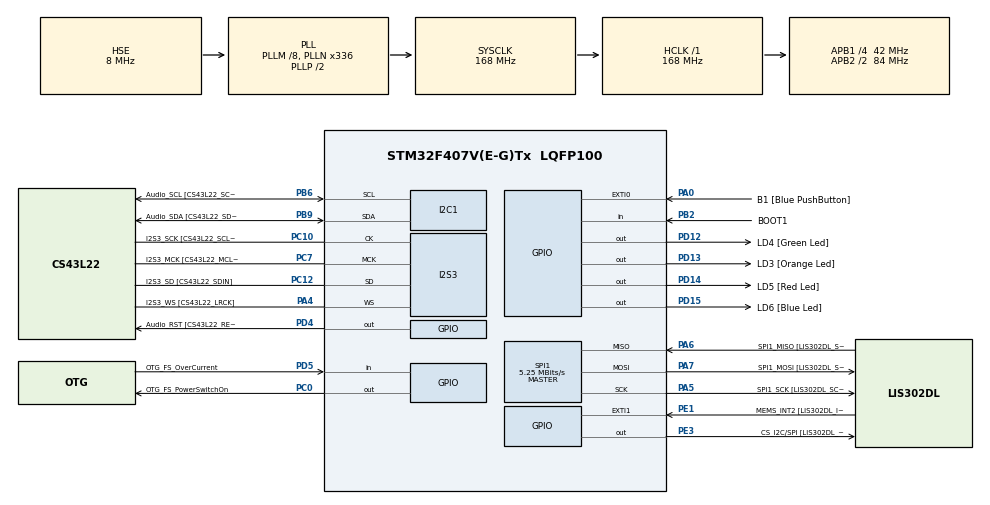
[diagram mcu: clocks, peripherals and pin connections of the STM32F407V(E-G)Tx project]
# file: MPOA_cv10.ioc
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FREERTOS.Queues01=xVisualQueue,16,uint16_t,NULL;xDecisionQueue,32,uint32_t,NULL
FREERTOS.Tasks01=defaultTask,0,128,StartDefaultTask,Default;VisualTask,0,128,StartVisualTask,Default;DecisionTask,0,128,StartDecisionTask,Default;AcceleroTask,0,128,StartAcceleroTask,Default
I2S3.AudioFreq-Half_Duplex_Master=I2S_AUDIOFREQ_96K
I2S3.ErrorAudioFreq=-2.34 %
I2S3.ErrorAudioFreq-Half_Duplex_Master=0.8 %
I2S3.RealAudioFreq=93.75 KHz
I2S3.RealAudioFreq-Half_Duplex_Master=96.774 KHz
Mcu.Family=STM32F4
Mcu.Name=STM32F407V(E-G)Tx
Mcu.Package=LQFP100
NVIC.PriorityGroup=NVIC_PRIORITYGROUP_4
NVIC.TIM1_UP_TIM10_IRQn=true\:0\:0\:false\:false\:true\:false
NVIC.TimeBase=TIM1_UP_TIM10_IRQn
NVIC.TimeBaseIP=TIM1
PA0-WKUP.GPIO_Label=B1 [Blue PushButton]
PA0-WKUP.GPIO_ModeDefaultEXTI=GPIO_MODE_EVT_RISING
PA0-WKUP.GPIO_PuPd=GPIO_NOPULL
PA0-WKUP.Signal=GPXTI0
PA10.GPIO_Label=OTG_FS_ID
PA10.GPIO_Mode=GPIO_MODE_AF_PP
PA10.GPIO_PuPd=GPIO_NOPULL
PA10.GPIO_Speed=GPIO_SPEED_FREQ_LOW
PA10.Signal=USB_OTG_FS_ID
PA11.GPIO_Label=OTG_FS_DM
PA11.GPIO_Mode=GPIO_MODE_AF_PP
PA11.GPIO_PuPd=GPIO_NOPULL
PA11.GPIO_Speed=GPIO_SPEED_FREQ_LOW
PA11.Signal=USB_OTG_FS_DM
PA12.GPIO_Label=OTG_FS_DP
PA12.GPIO_Mode=GPIO_MODE_AF_PP
PA12.GPIO_PuPd=GPIO_NOPULL
PA12.GPIO_Speed=GPIO_SPEED_FREQ_LOW
PA12.Signal=USB_OTG_FS_DP
PA13.GPIO_Label=SWDIO
PA13.Mode=Serial_Wire
PA13.Signal=SYS_JTMS-SWDIO
PA14.GPIO_Label=SWCLK
PA14.Mode=Serial_Wire
PA14.Signal=SYS_JTCK-SWCLK
PA4.GPIO_Label=I2S3_WS [CS43L22_LRCK]
PA4.GPIO_Mode=GPIO_MODE_AF_PP
PA4.GPIO_PuPd=GPIO_NOPULL
PA4.GPIO_Speed=GPIO_SPEED_FREQ_LOW
PA4.Mode=Half_Duplex_Master
PA4.Signal=I2S3_WS
PA5.GPIO_Label=SPI1_SCK [LIS302DL_SCL/SPC]
PA5.GPIO_Mode=GPIO_MODE_AF_PP
PA5.GPIO_PuPd=GPIO_NOPULL
PA5.GPIO_Speed=GPIO_SPEED_FREQ_LOW
PA5.Mode=Full_Duplex_Master
PA5.Signal=SPI1_SCK
PA6.GPIO_Label=SPI1_MISO [LIS302DL_SDO]
PA6.GPIO_Mode=GPIO_MODE_AF_PP
PA6.GPIO_PuPd=GPIO_NOPULL
PA6.GPIO_Speed=GPIO_SPEED_FREQ_LOW
PA6.Mode=Full_Duplex_Master
PA6.Signal=SPI1_MISO
PA7.GPIO_Label=SPI1_MOSI [LIS302DL_SDA/SDI/SDO]
PA7.GPIO_Mode=GPIO_MODE_AF_PP
PA7.GPIO_PuPd=GPIO_NOPULL
PA7.GPIO_Speed=GPIO_SPEED_FREQ_LOW
PA7.Mode=Full_Duplex_Master
PA7.Signal=SPI1_MOSI
PA9.GPIO_Label=VBUS_FS
PA9.GPIO_Mode=GPIO_MODE_INPUT
PA9.GPIO_PuPd=GPIO_NOPULL
PA9.Signal=USB_OTG_FS_VBUS
PB10.GPIO_Label=CLK_IN [MP45DT02_CLK]
PB10.GPIO_Mode=GPIO_MODE_AF_PP
PB10.GPIO_PuPd=GPIO_NOPULL
PB10.GPIO_Speed=GPIO_SPEED_FREQ_LOW
PB10.Signal=I2S2_CK
PB2.GPIO_Label=BOOT1
PB2.GPIO_Mode=GPIO_MODE_INPUT
PB2.GPIO_PuPd=GPIO_NOPULL
PB2.Signal=GPIO_Input
PB3.GPIO_Label=SWO
PB3.Signal=SYS_JTDO-SWO
PB6.GPIO_Label=Audio_SCL [CS43L22_SCL]
PB6.GPIO_Mode=GPIO_MODE_AF_OD
PB6.GPIO_PuPd=GPIO_NOPULL
PB6.GPIO_Speed=GPIO_SPEED_FREQ_LOW
PB6.Mode=I2C
PB6.Signal=I2C1_SCL
PB9.GPIO_Label=Audio_SDA [CS43L22_SDA]
PB9.GPIO_Mode=GPIO_MODE_AF_OD
PB9.GPIO_PuPd=GPIO_NOPULL
PB9.GPIO_Speed=GPIO_SPEED_FREQ_LOW
PB9.Mode=I2C
PB9.Signal=I2C1_SDA
PC0.GPIO_Label=OTG_FS_PowerSwitchOn
PC0.GPIO_PuPd=GPIO_NOPULL
PC0.GPIO_Speed=GPIO_SPEED_FREQ_LOW
PC0.PinState=GPIO_PIN_SET
PC0.Signal=GPIO_Output
PC10.GPIO_Label=I2S3_SCK [CS43L22_SCLK]
PC10.GPIO_Mode=GPIO_MODE_AF_PP
PC10.GPIO_PuPd=GPIO_NOPULL
PC10.GPIO_Speed=GPIO_SPEED_FREQ_LOW
PC10.Mode=Half_Duplex_Master
PC10.Signal=I2S3_CK
PC12.GPIO_Label=I2S3_SD [CS43L22_SDIN]
PC12.GPIO_Mode=GPIO_MODE_AF_PP
PC12.GPIO_PuPd=GPIO_NOPULL
PC12.GPIO_Speed=GPIO_SPEED_FREQ_LOW
PC12.Mode=Half_Duplex_Master
PC12.Signal=I2S3_SD
PC14-OSC32_IN.GPIO_Label=PC14-OSC32_IN
PC14-OSC32_IN.Mode=LSE-External-Oscillator
PC14-OSC32_IN.Signal=RCC_OSC32_IN
PC15-OSC32_OUT.GPIO_Label=PC15-OSC32_OUT
PC15-OSC32_OUT.Mode=LSE-External-Oscillator
PC15-OSC32_OUT.Signal=RCC_OSC32_OUT
PC3.GPIO_Label=PDM_OUT [MP45DT02_DOUT]
PC3.GPIO_Mode=GPIO_MODE_AF_PP
PC3.GPIO_PuPd=GPIO_NOPULL
PC3.GPIO_Speed=GPIO_SPEED_FREQ_LOW
PC3.Signal=I2S2_SD
PC7.GPIO_Label=I2S3_MCK [CS43L22_MCLK]
PC7.GPIO_Mode=GPIO_MODE_AF_PP
PC7.GPIO_PuPd=GPIO_NOPULL
PC7.GPIO_Speed=GPIO_SPEED_FREQ_LOW
PC7.Mode=Master_Clock_Activated
PC7.Signal=I2S3_MCK
PD12.GPIO_Label=LD4 [Green Led]
PD12.GPIO_PuPd=GPIO_NOPULL
PD12.GPIO_Speed=GPIO_SPEED_FREQ_LOW
PD12.Signal=GPIO_Output
PD13.GPIO_Label=LD3 [Orange Led]
PD13.GPIO_PuPd=GPIO_NOPULL
PD13.GPIO_Speed=GPIO_SPEED_FREQ_LOW
PD13.Signal=GPIO_Output
PD14.GPIO_Label=LD5 [Red Led]
PD14.GPIO_PuPd=GPIO_NOPULL
PD14.GPIO_Speed=GPIO_SPEED_FREQ_LOW
PD14.Signal=GPIO_Output
PD15.GPIO_Label=LD6 [Blue Led]
PD15.GPIO_PuPd=GPIO_NOPULL
PD15.GPIO_Speed=GPIO_SPEED_FREQ_LOW
PD15.Signal=GPIO_Output
PD4.GPIO_Label=Audio_RST [CS43L22_RESET]
PD4.GPIO_PuPd=GPIO_NOPULL
PD4.GPIO_Speed=GPIO_SPEED_FREQ_LOW
PD4.Signal=GPIO_Output
PD5.GPIO_Label=OTG_FS_OverCurrent
PD5.GPIO_Mode=GPIO_MODE_INPUT
PD5.GPIO_PuPd=GPIO_NOPULL
PD5.Signal=GPIO_Input
PE1.GPIO_Label=MEMS_INT2 [LIS302DL_INT2]
PE1.GPIO_ModeDefaultEXTI=GPIO_MODE_EVT_RISING
PE1.GPIO_PuPd=GPIO_NOPULL
PE1.Signal=GPXTI1
PE3.GPIO_Label=CS_I2C/SPI [LIS302DL_CS_I2C/SPI]
PE3.GPIO_PuPd=GPIO_NOPULL
PE3.GPIO_Speed=GPIO_SPEED_FREQ_LOW
PE3.Signal=GPIO_Output
PH0-OSC_IN.GPIO_Label=PH0-OSC_IN
PH0-OSC_IN.Mode=HSE-External-Oscillator
PH0-OSC_IN.Signal=RCC_OSC_IN
PH1-OSC_OUT.GPIO_Label=PH1-OSC_OUT
PH1-OSC_OUT.Mode=HSE-External-Oscillator
PH1-OSC_OUT.Signal=RCC_OSC_OUT
ProjectManager.HeapSize=0x200
ProjectManager.StackSize=0x400
ProjectManager.TargetToolchain=SW4STM32
RCC.48MHZClocksFreq_Value=48000000
RCC.AHBFreq_Value=168000000
RCC.APB1CLKDivider=RCC_HCLK_DIV4
RCC.APB1Freq_Value=42000000
RCC.APB1TimFreq_Value=84000000
RCC.APB2CLKDivider=RCC_HCLK_DIV2
RCC.APB2Freq_Value=84000000
RCC.APB2TimFreq_Value=168000000
RCC.CortexFreq_Value=168000000
RCC.HCLKFreq_Value=168000000
RCC.HSE_VALUE=8000000
RCC.HSI_VALUE=16000000
RCC.PLLM=8
RCC.PLLN=336
RCC.PLLQ=7
RCC.PLLSourceVirtual=RCC_PLLSOURCE_HSE
RCC.SYSCLKFreq_VALUE=168000000
RCC.SYSCLKSource=RCC_SYSCLKSOURCE_PLLCLK
RCC.VCOOutputFreq_Value=336000000
SPI1.BaudRatePrescaler=SPI_BAUDRATEPRESCALER_16
SPI1.BaudRatePrescaler-Full_Duplex_Master=SPI_BAUDRATEPRESCALER_2
SPI1.CalculateBaudRate=5.25 MBits/s
SPI1.CalculateBaudRate-Full_Duplex_Master=42.0 MBits/s
SPI1.Mode=SPI_MODE_MASTER
SPI1.Mode-Full_Duplex_Master=SPI_MODE_MASTER
VP_FREERTOS_VS_ENABLE.Mode=Enabled
VP_SYS_VS_tim1.Mode=TIM1
board=STM32F4DISCOVERY

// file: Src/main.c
/**
  ******************************************************************************
  * File Name          : main.c
  * Description        : Main program body
  ******************************************************************************
  *
  * Copyright (c) 2018 STMicroelectronics International N.V.
  * All rights reserved.
  *
  * Redistribution and use in source and binary forms, with or without
  * modification, are permitted, provided that the following conditions are met:
  *
  * 1. Redistribution of source code must retain the above copyright notice,
  *    this list of conditions and the following disclaimer.
  * 2. Redistributions in binary form must reproduce the above copyright notice,
  *    this list of conditions and the following disclaimer in the documentation
  *    and/or other materials provided with the distribution.
  * 3. Neither the name of STMicroelectronics nor the names of other
  *    contributors to this software may be used to endorse or promote products
  *    derived from this software without specific written permission.
  * 4. This software, including modifications and/or derivative works of this
  *    software, must execute solely and exclusively on microcontroller or
  *    microprocessor devices manufactured by or for STMicroelectronics.
  * 5. Redistribution and use of this software other than as permitted under
  *    this license is void and will automatically terminate your rights under
  *    this license.
  *
  * THIS SOFTWARE IS PROVIDED BY STMICROELECTRONICS AND CONTRIBUTORS "AS IS"
  * AND ANY EXPRESS, IMPLIED OR STATUTORY WARRANTIES, INCLUDING, BUT NOT
  * LIMITED TO, THE IMPLIED WARRANTIES OF MERCHANTABILITY, FITNESS FOR A
  * PARTICULAR PURPOSE AND NON-INFRINGEMENT OF THIRD PARTY INTELLECTUAL PROPERTY
  * RIGHTS ARE DISCLAIMED TO THE FULLEST EXTENT PERMITTED BY LAW. IN NO EVENT
  * SHALL STMICROELECTRONICS OR CONTRIBUTORS BE LIABLE FOR ANY DIRECT, INDIRECT,
  * INCIDENTAL, SPECIAL, EXEMPLARY, OR CONSEQUENTIAL DAMAGES (INCLUDING, BUT NOT
  * LIMITED TO, PROCUREMENT OF SUBSTITUTE GOODS OR SERVICES; LOSS OF USE, DATA,
  * OR PROFITS; OR BUSINESS INTERRUPTION) HOWEVER CAUSED AND ON ANY THEORY OF
  * LIABILITY, WHETHER IN CONTRACT, STRICT LIABILITY, OR TORT (INCLUDING
  * NEGLIGENCE OR OTHERWISE) ARISING IN ANY WAY OUT OF THE USE OF THIS SOFTWARE,
  * EVEN IF ADVISED OF THE POSSIBILITY OF SUCH DAMAGE.
  *
  ******************************************************************************
  */
#include "main.h"
#include "stm32f4xx_hal.h"
#include "cmsis_os.h"

/* USER CODE BEGIN Includes */
#include "stm32f4_discovery_accelerometer.h"

/* USER CODE END Includes */

I2C_HandleTypeDef hi2c1;

I2S_HandleTypeDef hi2s3;

SPI_HandleTypeDef hspi1;

osThreadId defaultTaskHandle;
osThreadId VisualTaskHandle;
osThreadId DecisionTaskHandle;
osThreadId AcceleroTaskHandle;
osMessageQId xVisualQueueHandle;
osMessageQId xDecisionQueueHandle;

/* USER CODE BEGIN PV */
/* Private variables ---------------------------------------------------------*/

/* USER CODE END PV */

void SystemClock_Config(void);
void Error_Handler(void);
static void MX_GPIO_Init(void);
static void MX_I2C1_Init(void);
static void MX_I2S3_Init(void);
static void MX_SPI1_Init(void);
void StartDefaultTask(void const * argument);
void StartVisualTask(void const * argument);
void StartDecisionTask(void const * argument);
void StartAcceleroTask(void const * argument);

/* USER CODE BEGIN PFP */
/* Private function prototypes -----------------------------------------------*/
static uint8_t  SPIx_WriteRead(uint8_t Byte);

/* Link functions for Accelerometer peripheral */
void            ACCELERO_IO_Init(void);
void            ACCELERO_IO_ITConfig(void);
void            ACCELERO_IO_Write(uint8_t *pBuffer, uint8_t WriteAddr, uint16_t NumByteToWrite);
void            ACCELERO_IO_Read(uint8_t *pBuffer, uint8_t ReadAddr, uint16_t NumByteToRead);

/* USER CODE END PFP */

int main(void)
{

  /* MCU Configuration----------------------------------------------------------*/

  /* Reset of all peripherals, Initializes the Flash interface and the Systick. */
  HAL_Init();

  /* Configure the system clock */
  SystemClock_Config();

  /* Initialize all configured peripherals */
  MX_GPIO_Init();
  MX_I2C1_Init();
  MX_I2S3_Init();
  MX_SPI1_Init();

  /* Create the thread(s) */
  /* definition and creation of defaultTask */
  osThreadDef(defaultTask, StartDefaultTask, osPriorityNormal, 0, 128);
  defaultTaskHandle = osThreadCreate(osThread(defaultTask), NULL);

  /* definition and creation of VisualTask */
  osThreadDef(VisualTask, StartVisualTask, osPriorityNormal, 0, 128);
  VisualTaskHandle = osThreadCreate(osThread(VisualTask), NULL);

  /* definition and creation of DecisionTask */
  osThreadDef(DecisionTask, StartDecisionTask, osPriorityNormal, 0, 128);
  DecisionTaskHandle = osThreadCreate(osThread(DecisionTask), NULL);

  /* definition and creation of AcceleroTask */
  osThreadDef(AcceleroTask, StartAcceleroTask, osPriorityNormal, 0, 128);
  AcceleroTaskHandle = osThreadCreate(osThread(AcceleroTask), NULL);

  /* Create the queue(s) */
  /* definition and creation of xVisualQueue */
  osMessageQDef(xVisualQueue, 16, uint16_t);
  xVisualQueueHandle = osMessageCreate(osMessageQ(xVisualQueue), NULL);

  /* definition and creation of xDecisionQueue */
  osMessageQDef(xDecisionQueue, 32, uint32_t);
  xDecisionQueueHandle = osMessageCreate(osMessageQ(xDecisionQueue), NULL);

  /* Start scheduler */
  osKernelStart();

  /* We should never get here as control is now taken by the scheduler */

  /* Infinite loop */
  while (1)
  {

  }

}

/** System Clock Configuration
*/
void SystemClock_Config(void)
{

  RCC_OscInitTypeDef RCC_OscInitStruct;
  RCC_ClkInitTypeDef RCC_ClkInitStruct;
  RCC_PeriphCLKInitTypeDef PeriphClkInitStruct;

    /**Configure the main internal regulator output voltage
    */
  __HAL_RCC_PWR_CLK_ENABLE();

  __HAL_PWR_VOLTAGESCALING_CONFIG(PWR_REGULATOR_VOLTAGE_SCALE1);

    /**Initializes the CPU, AHB and APB busses clocks
    */
  RCC_OscInitStruct.OscillatorType = RCC_OSCILLATORTYPE_HSE;
  RCC_OscInitStruct.HSEState = RCC_HSE_ON;
  RCC_OscInitStruct.PLL.PLLState = RCC_PLL_ON;
  RCC_OscInitStruct.PLL.PLLSource = RCC_PLLSOURCE_HSE;
  RCC_OscInitStruct.PLL.PLLM = 8;
  RCC_OscInitStruct.PLL.PLLN = 336;
  RCC_OscInitStruct.PLL.PLLP = RCC_PLLP_DIV2;
  RCC_OscInitStruct.PLL.PLLQ = 7;
  if (HAL_RCC_OscConfig(&RCC_OscInitStruct) != HAL_OK)
  {
    Error_Handler();
  }

    /**Initializes the CPU, AHB and APB busses clocks
    */
  RCC_ClkInitStruct.ClockType = RCC_CLOCKTYPE_HCLK|RCC_CLOCKTYPE_SYSCLK
                              |RCC_CLOCKTYPE_PCLK1|RCC_CLOCKTYPE_PCLK2;
  RCC_ClkInitStruct.SYSCLKSource = RCC_SYSCLKSOURCE_PLLCLK;
  RCC_ClkInitStruct.AHBCLKDivider = RCC_SYSCLK_DIV1;
  RCC_ClkInitStruct.APB1CLKDivider = RCC_HCLK_DIV4;
  RCC_ClkInitStruct.APB2CLKDivider = RCC_HCLK_DIV2;

  if (HAL_RCC_ClockConfig(&RCC_ClkInitStruct, FLASH_LATENCY_5) != HAL_OK)
  {
    Error_Handler();
  }

  PeriphClkInitStruct.PeriphClockSelection = RCC_PERIPHCLK_I2S;
  PeriphClkInitStruct.PLLI2S.PLLI2SN = 192;
  PeriphClkInitStruct.PLLI2S.PLLI2SR = 2;
  if (HAL_RCCEx_PeriphCLKConfig(&PeriphClkInitStruct) != HAL_OK)
  {
    Error_Handler();
  }

    /**Configure the Systick interrupt time
    */
  HAL_SYSTICK_Config(HAL_RCC_GetHCLKFreq()/1000);

    /**Configure the Systick
    */
  HAL_SYSTICK_CLKSourceConfig(SYSTICK_CLKSOURCE_HCLK);

  /* SysTick_IRQn interrupt configuration */
  HAL_NVIC_SetPriority(SysTick_IRQn, 15, 0);
}

/* I2C1 init function */
static void MX_I2C1_Init(void)
{

  hi2c1.Instance = I2C1;
  hi2c1.Init.ClockSpeed = 100000;
  hi2c1.Init.DutyCycle = I2C_DUTYCYCLE_2;
  hi2c1.Init.OwnAddress1 = 0;
  hi2c1.Init.AddressingMode = I2C_ADDRESSINGMODE_7BIT;
  hi2c1.Init.DualAddressMode = I2C_DUALADDRESS_DISABLE;
  hi2c1.Init.OwnAddress2 = 0;
  hi2c1.Init.GeneralCallMode = I2C_GENERALCALL_DISABLE;
  hi2c1.Init.NoStretchMode = I2C_NOSTRETCH_DISABLE;
  if (HAL_I2C_Init(&hi2c1) != HAL_OK)
  {
    Error_Handler();
  }

}

/* I2S3 init function */
static void MX_I2S3_Init(void)
{

  hi2s3.Instance = SPI3;
  hi2s3.Init.Mode = I2S_MODE_MASTER_TX;
  hi2s3.Init.Standard = I2S_STANDARD_PHILIPS;
  hi2s3.Init.DataFormat = I2S_DATAFORMAT_16B;
  hi2s3.Init.MCLKOutput = I2S_MCLKOUTPUT_ENABLE;
  hi2s3.Init.AudioFreq = I2S_AUDIOFREQ_96K;
  hi2s3.Init.CPOL = I2S_CPOL_LOW;
  hi2s3.Init.ClockSource = I2S_CLOCK_PLL;
  hi2s3.Init.FullDuplexMode = I2S_FULLDUPLEXMODE_DISABLE;
  if (HAL_I2S_Init(&hi2s3) != HAL_OK)
  {
    Error_Handler();
  }

}

/* SPI1 init function */
static void MX_SPI1_Init(void)
{

  hspi1.Instance = SPI1;
  hspi1.Init.Mode = SPI_MODE_MASTER;
  hspi1.Init.Direction = SPI_DIRECTION_2LINES;
  hspi1.Init.DataSize = SPI_DATASIZE_8BIT;
  hspi1.Init.CLKPolarity = SPI_POLARITY_LOW;
  hspi1.Init.CLKPhase = SPI_PHASE_1EDGE;
  hspi1.Init.NSS = SPI_NSS_SOFT;
  hspi1.Init.BaudRatePrescaler = SPI_BAUDRATEPRESCALER_16;
  hspi1.Init.FirstBit = SPI_FIRSTBIT_MSB;
  hspi1.Init.TIMode = SPI_TIMODE_DISABLE;
  hspi1.Init.CRCCalculation = SPI_CRCCALCULATION_DISABLE;
  hspi1.Init.CRCPolynomial = 10;
  if (HAL_SPI_Init(&hspi1) != HAL_OK)
  {
    Error_Handler();
  }

}

/** Configure pins as
        * Analog
        * Input
        * Output
        * EVENT_OUT
        * EXTI
     PC3   ------> I2S2_SD
     PB10   ------> I2S2_CK
     PA9   ------> USB_OTG_FS_VBUS
     PA10   ------> USB_OTG_FS_ID
     PA11   ------> USB_OTG_FS_DM
     PA12   ------> USB_OTG_FS_DP
*/
static void MX_GPIO_Init(void)
{

  GPIO_InitTypeDef GPIO_InitStruct;

  /* GPIO Ports Clock Enable */
  __HAL_RCC_GPIOE_CLK_ENABLE();
  __HAL_RCC_GPIOC_CLK_ENABLE();
  __HAL_RCC_GPIOH_CLK_ENABLE();
  __HAL_RCC_GPIOA_CLK_ENABLE();
  __HAL_RCC_GPIOB_CLK_ENABLE();
  __HAL_RCC_GPIOD_CLK_ENABLE();

  /*Configure GPIO pin Output Level */
  HAL_GPIO_WritePin(CS_I2C_SPI_GPIO_Port, CS_I2C_SPI_Pin, GPIO_PIN_RESET);

  /*Configure GPIO pin Output Level */
  HAL_GPIO_WritePin(OTG_FS_PowerSwitchOn_GPIO_Port, OTG_FS_PowerSwitchOn_Pin, GPIO_PIN_SET);

  /*Configure GPIO pin Output Level */
  HAL_GPIO_WritePin(GPIOD, LD4_Pin|LD3_Pin|LD5_Pin|LD6_Pin
                          |Audio_RST_Pin, GPIO_PIN_RESET);

  /*Configure GPIO pin : CS_I2C_SPI_Pin */
  GPIO_InitStruct.Pin = CS_I2C_SPI_Pin;
  GPIO_InitStruct.Mode = GPIO_MODE_OUTPUT_PP;
  GPIO_InitStruct.Pull = GPIO_NOPULL;
  GPIO_InitStruct.Speed = GPIO_SPEED_FREQ_LOW;
  HAL_GPIO_Init(CS_I2C_SPI_GPIO_Port, &GPIO_InitStruct);

  /*Configure GPIO pin : OTG_FS_PowerSwitchOn_Pin */
  GPIO_InitStruct.Pin = OTG_FS_PowerSwitchOn_Pin;
  GPIO_InitStruct.Mode = GPIO_MODE_OUTPUT_PP;
  GPIO_InitStruct.Pull = GPIO_NOPULL;
  GPIO_InitStruct.Speed = GPIO_SPEED_FREQ_LOW;
  HAL_GPIO_Init(OTG_FS_PowerSwitchOn_GPIO_Port, &GPIO_InitStruct);

  /*Configure GPIO pin : PDM_OUT_Pin */
  GPIO_InitStruct.Pin = PDM_OUT_Pin;
  GPIO_InitStruct.Mode = GPIO_MODE_AF_PP;
  GPIO_InitStruct.Pull = GPIO_NOPULL;
  GPIO_InitStruct.Speed = GPIO_SPEED_FREQ_LOW;
  GPIO_InitStruct.Alternate = GPIO_AF5_SPI2;
  HAL_GPIO_Init(PDM_OUT_GPIO_Port, &GPIO_InitStruct);

  /*Configure GPIO pin : B1_Pin */
  GPIO_InitStruct.Pin = B1_Pin;
  GPIO_InitStruct.Mode = GPIO_MODE_EVT_RISING;
  GPIO_InitStruct.Pull = GPIO_NOPULL;
  HAL_GPIO_Init(B1_GPIO_Port, &GPIO_InitStruct);

  /*Configure GPIO pin : BOOT1_Pin */
  GPIO_InitStruct.Pin = BOOT1_Pin;
  GPIO_InitStruct.Mode = GPIO_MODE_INPUT;
  GPIO_InitStruct.Pull = GPIO_NOPULL;
  HAL_GPIO_Init(BOOT1_GPIO_Port, &GPIO_InitStruct);

  /*Configure GPIO pin : CLK_IN_Pin */
  GPIO_InitStruct.Pin = CLK_IN_Pin;
  GPIO_InitStruct.Mode = GPIO_MODE_AF_PP;
  GPIO_InitStruct.Pull = GPIO_NOPULL;
  GPIO_InitStruct.Speed = GPIO_SPEED_FREQ_LOW;
  GPIO_InitStruct.Alternate = GPIO_AF5_SPI2;
  HAL_GPIO_Init(CLK_IN_GPIO_Port, &GPIO_InitStruct);

  /*Configure GPIO pins : LD4_Pin LD3_Pin LD5_Pin LD6_Pin
                           Audio_RST_Pin */
  GPIO_InitStruct.Pin = LD4_Pin|LD3_Pin|LD5_Pin|LD6_Pin
                          |Audio_RST_Pin;
  GPIO_InitStruct.Mode = GPIO_MODE_OUTPUT_PP;
  GPIO_InitStruct.Pull = GPIO_NOPULL;
  GPIO_InitStruct.Speed = GPIO_SPEED_FREQ_LOW;
  HAL_GPIO_Init(GPIOD, &GPIO_InitStruct);

  /*Configure GPIO pin : VBUS_FS_Pin */
  GPIO_InitStruct.Pin = VBUS_FS_Pin;
  GPIO_InitStruct.Mode = GPIO_MODE_INPUT;
  GPIO_InitStruct.Pull = GPIO_NOPULL;
  HAL_GPIO_Init(VBUS_FS_GPIO_Port, &GPIO_InitStruct);

  /*Configure GPIO pins : OTG_FS_ID_Pin OTG_FS_DM_Pin OTG_FS_DP_Pin */
  GPIO_InitStruct.Pin = OTG_FS_ID_Pin|OTG_FS_DM_Pin|OTG_FS_DP_Pin;
  GPIO_InitStruct.Mode = GPIO_MODE_AF_PP;
  GPIO_InitStruct.Pull = GPIO_NOPULL;
  GPIO_InitStruct.Speed = GPIO_SPEED_FREQ_LOW;
  GPIO_InitStruct.Alternate = GPIO_AF10_OTG_FS;
  HAL_GPIO_Init(GPIOA, &GPIO_InitStruct);

  /*Configure GPIO pin : OTG_FS_OverCurrent_Pin */
  GPIO_InitStruct.Pin = OTG_FS_OverCurrent_Pin;
  GPIO_InitStruct.Mode = GPIO_MODE_INPUT;
  GPIO_InitStruct.Pull = GPIO_NOPULL;
  HAL_GPIO_Init(OTG_FS_OverCurrent_GPIO_Port, &GPIO_InitStruct);

  /*Configure GPIO pin : MEMS_INT2_Pin */
  GPIO_InitStruct.Pin = MEMS_INT2_Pin;
  GPIO_InitStruct.Mode = GPIO_MODE_EVT_RISING;
  GPIO_InitStruct.Pull = GPIO_NOPULL;
  HAL_GPIO_Init(MEMS_INT2_GPIO_Port, &GPIO_InitStruct);

}

/* USER CODE BEGIN 4 */
static uint8_t SPIx_WriteRead(uint8_t Byte)
{
  uint8_t receivedbyte = 0;

  /* Send a Byte through the SPI peripheral */
  /* Read byte from the SPI bus */
  if(HAL_SPI_TransmitReceive(&hspi1, (uint8_t*) &Byte, (uint8_t*) &receivedbyte, 1, HAL_MAX_DELAY) != HAL_OK)
  {
    //SPIx_Error();
  }

  return receivedbyte;
}

void ACCELERO_IO_Init(void)
{
  GPIO_InitTypeDef GPIO_InitStructure;

  /* Configure the Accelerometer Control pins --------------------------------*/
  /* Enable CS GPIO clock and configure GPIO pin for Accelerometer Chip select */
  //ACCELERO_CS_GPIO_CLK_ENABLE();

  /* Configure GPIO PIN for LIS Chip select */
  GPIO_InitStructure.Pin = CS_I2C_SPI_Pin;
  GPIO_InitStructure.Mode = GPIO_MODE_OUTPUT_PP;
  GPIO_InitStructure.Pull  = GPIO_NOPULL;
  GPIO_InitStructure.Speed = GPIO_SPEED_MEDIUM;
  HAL_GPIO_Init(CS_I2C_SPI_GPIO_Port, &GPIO_InitStructure);

  /* Deselect: Chip Select high */
  ACCELERO_CS_HIGH();

  //SPIx_Init();
}

/**
  * @brief  Configures the Accelerometer INT2.
  *         EXTI0 is already used by user button so INT1 is not configured here.
  */
void ACCELERO_IO_ITConfig(void)
{

}

/**
  * @brief  Writes one byte to the Accelerometer.
  * @param  pBuffer: pointer to the buffer containing the data to be written to the Accelerometer.
  * @param  WriteAddr: Accelerometer's internal address to write to.
  * @param  NumByteToWrite: Number of bytes to write.
  */
void ACCELERO_IO_Write(uint8_t *pBuffer, uint8_t WriteAddr, uint16_t NumByteToWrite)
{

}

/**
  * @brief  Reads a block of data from the Accelerometer.
  * @param  pBuffer: pointer to the buffer that receives the data read from the Accelerometer.
  * @param  ReadAddr: Accelerometer's internal address to read from.
  * @param  NumByteToRead: number of bytes to read from the Accelerometer.
  */
void ACCELERO_IO_Read(uint8_t *pBuffer, uint8_t ReadAddr, uint16_t NumByteToRead)
{
  if(NumByteToRead > 0x01)
  {
    ReadAddr |= (uint8_t)(READWRITE_CMD | MULTIPLEBYTE_CMD);
  }
  else
  {
    ReadAddr |= (uint8_t)READWRITE_CMD;
  }
  /* Set chip select Low at the start of the transmission */
  ACCELERO_CS_LOW();

  /* Send the Address of the indexed register */
  SPIx_WriteRead(ReadAddr);

  /* Receive the data that will be read from the device (MSB First) */
  while(NumByteToRead > 0x00)
  {
    /* Send dummy byte (0x00) to generate the SPI clock to ACCELEROMETER (Slave device) */
    *pBuffer = SPIx_WriteRead(DUMMY_BYTE);
    NumByteToRead--;
    pBuffer++;
  }

  /* Set chip select High at the end of the transmission */
  ACCELERO_CS_HIGH();
}

/* USER CODE END 4 */

/* StartDefaultTask function */
void StartDefaultTask(void const * argument)
{

  for(;;)
  {
    osDelay(1);
  }
}

/* StartVisualTask function */
void StartVisualTask(void const * argument)
{
  /* USER CODE BEGIN StartVisualTask */
  /* Infinite loop */
  uint16_t msg;

  for(;;)
  {
    if (xQueueReceive(xVisualQueueHandle, &msg, portMAX_DELAY)) {
        HAL_GPIO_WritePin(LD3_GPIO_Port, LD3_Pin, (msg & 0x01) ? GPIO_PIN_SET : GPIO_PIN_RESET);
        HAL_GPIO_WritePin(LD4_GPIO_Port, LD4_Pin, (msg & 0x02) ? GPIO_PIN_SET : GPIO_PIN_RESET);
        HAL_GPIO_WritePin(LD5_GPIO_Port, LD5_Pin, (msg & 0x04) ? GPIO_PIN_SET : GPIO_PIN_RESET);
        HAL_GPIO_WritePin(LD6_GPIO_Port, LD6_Pin, (msg & 0x08) ? GPIO_PIN_SET : GPIO_PIN_RESET);
    }
    osDelay(1);
  }
  /* USER CODE END StartVisualTask */
}

/* StartDecisionTask function */
void StartDecisionTask(void const * argument)
{
  /* USER CODE BEGIN StartDecisionTask */
  /* Infinite loop */
  for(;;)
  {
    uint32_t msg_in;

    if (xQueueReceive(xDecisionQueueHandle, &msg_in, portMAX_DELAY)) {
        int16_t accX = msg_in >> 0;
        int16_t accY = msg_in >> 16;
        uint16_t msg_out = 0;

        if (accX < -200) {
            msg_out |= 0x02;
        }
        else if (accX > 200) {
            msg_out |= 0x04;
        }

        if (accY < -200) {
            msg_out |= 0x08;
        }
        else if (accY > 200) {
            msg_out |= 0x01;
        }

        xQueueSend(xVisualQueueHandle, &msg_out, 0);

    }
    osDelay(1);
  }
  /* USER CODE END StartDecisionTask */
}

/* StartAcceleroTask function */
void StartAcceleroTask(void const * argument)
{
  /* USER CODE BEGIN StartAcceleroTask */
  BSP_ACCELERO_Init();
  int16_t buffer[3] = {0};
  uint16_t xval, yval = 0x00;
  uint32_t msg_out;
  /* Infinite loop */
  for(;;)
  {
    /* Accelerometer variables */

    /* Read Acceleration */
    BSP_ACCELERO_GetXYZ(buffer);

    xval = buffer[0];
    yval = buffer[1];

    msg_out = (uint32_t)yval << 16 | (xval);
    xQueueSend(xDecisionQueueHandle, &msg_out, 0);

    osDelay(50);
  }
  /* USER CODE END StartAcceleroTask */
}

void HAL_TIM_PeriodElapsedCallback(TIM_HandleTypeDef *htim)
{
  if (htim->Instance == TIM1) {
    HAL_IncTick();
  }
}

void Error_Handler(void)
{
  while(1)
  {
  }
}

/************************ (C) COPYRIGHT STMicroelectronics *****END OF FILE****/
